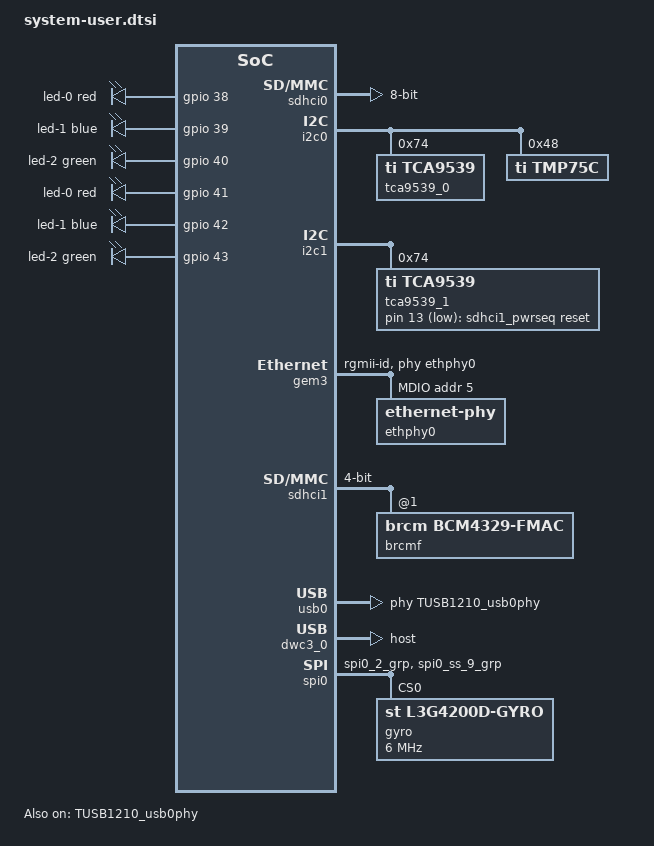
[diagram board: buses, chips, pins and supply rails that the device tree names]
/include/ "system-conf.dtsi"

#include <dt-bindings/gpio/gpio.h>
#include <dt-bindings/leds/common.h>
#include <dt-bindings/pinctrl/pinctrl-zynqmp.h>
#include <dt-bindings/interrupt-controller/irq.h>

/*
/ {
	memory {
		device_type = "memory";
		reg = <0x0 0x0 0x0 0x5ffff000>;
	};
};

&amba
{
	pl_shared_mem: shared-mem@60000000 {
		compatible = "skyfend,shared-mem";
		reg = <0x0 0x60000000 0x0 0x20000000>;

		status = "okay";
	};
};
*/


&amba
{
	axi_uartlite_0: serial@80010000 {
		clock-names = "s_axi_aclk";
		clocks = <&zynqmp_clk 71>;
		compatible = "xlnx,axi-uartlite-2.0", "xlnx,xps-uartlite-1.00.a";
		current-speed = <115200>;
		device_type = "serial";
		interrupt-names = "interrupt";
		interrupt-parent = <&gic>;

		interrupts = <0 96 1>;
		port-number = <1>;
		reg = <0x0 0x80010000 0x0 0x80>;
		xlnx,baudrate = <0x1c200>;
		xlnx,data-bits = <0x8>;
		xlnx,odd-parity = <0x0>;
		xlnx,s-axi-aclk-freq-hz-d = "99.999001";
		xlnx,use-parity = <0x0>;

		status = "disable";
	};
	axi_uartlite_1: serial@80010080 {
		clock-names = "s_axi_aclk";
		clocks = <&zynqmp_clk 71>;
		compatible = "xlnx,axi-uartlite-2.0", "xlnx,xps-uartlite-1.00.a";
		current-speed = <115200>;
		device_type = "serial";
		interrupt-names = "interrupt";
		interrupt-parent = <&gic>;
		interrupts = <0 94 1>;
		port-number = <2>;
		reg = <0x0 0x80010080 0x0 0x80>;
		xlnx,baudrate = <0x1c200>;
		xlnx,data-bits = <0x8>;
		xlnx,odd-parity = <0x0>;
		xlnx,s-axi-aclk-freq-hz-d = "99.999001";
		xlnx,use-parity = <0x0>;

		status = "disable";
	};

	axi_uartlite_2: serial@80010100 {
		clock-names = "s_axi_aclk";
		clocks = <&zynqmp_clk 71>;
		compatible = "xlnx,axi-uartlite-2.0", "xlnx,xps-uartlite-1.00.a";
		current-speed = <115200>;
		device_type = "serial";
		interrupt-names = "interrupt";
		interrupt-parent = <&gic>;
		interrupts = <0 95 1>;
		port-number = <3>;
		reg = <0x0 0x80010100 0x0 0x80>;
		xlnx,baudrate = <0x1C200>;
		xlnx,data-bits = <0x8>;
		xlnx,odd-parity = <0x0>;
		xlnx,s-axi-aclk-freq-hz-d = "99.999001";
		xlnx,use-parity = <0x0>;

		status = "disable";
	};

	axi_uartlite_3: serial@80010180 {
		clock-names = "s_axi_aclk";
		clocks = <&zynqmp_clk 71>;
		compatible = "xlnx,axi-uartlite-2.0", "xlnx,xps-uartlite-1.00.a";
		current-speed = <115200>;
		device_type = "serial";
		interrupt-names = "interrupt";
		interrupt-parent = <&gic>;
		interrupts = <0 89 1>;
		port-number = <4>;
		reg = <0x0 0x80010180 0x0 0x80>;
		xlnx,baudrate = <0x1c200>;
		xlnx,data-bits = <0x8>;
		xlnx,odd-parity = <0x0>;
		xlnx,s-axi-aclk-freq-hz-d = "99.999001";
		xlnx,use-parity = <0x0>;

		status = "disable";
	};
	axi_uartlite_4: serial@80010200 {
		clock-names = "s_axi_aclk";
		clocks = <&zynqmp_clk 71>;
		compatible = "xlnx,axi-uartlite-2.0", "xlnx,xps-uartlite-1.00.a";
		current-speed = <115200>;
		device_type = "serial";
		interrupt-names = "interrupt";
		interrupt-parent = <&gic>;
		interrupts = <0 90 1>;
		port-number = <5>;
		reg = <0x0 0x80010200 0x0 0x80>;
		xlnx,baudrate = <0x1c200>;
		xlnx,data-bits = <0x8>;
		xlnx,odd-parity = <0x0>;
		xlnx,s-axi-aclk-freq-hz-d = "99.999001";
		xlnx,use-parity = <0x0>;

		status = "disable";

		l96: gnss { 
			compatible = "quectel,l96";
			on-gpios = <&tca9539_0 0 GPIO_ACTIVE_HIGH>;
			reset-gpios = <&tca9539_0 1 GPIO_ACTIVE_LOW>;
			timepulse-gpios = <&gpio 88 GPIO_ACTIVE_HIGH>;
			current-speed = <9600>; 

			status = "disable";
		}; 
	};
};

&flash0 {
	compatible = "jedec,spi-nor";
	#address-cells = <0x01>;
	#size-cells = <0x1>;
	reg = <0x0>;

	spi-rx-bus-width = <0x04>;
	spi-tx-bus-width = <0x01>;
	spi-max-frequency = <5000000>;
};

&sdhci0 {
	bus-width = <8>;
	supports-emmc;
	non-removeable;
	
	status = "okay";
};

&i2c0 {
	status = "okay";

	tca9539_0: tca9539@74 {
		compatible = "ti,tca9539";
		reg=<0x74>;
		gpio-controller;
		#gpio-cells = <0x2>;
		
		status = "okay";
	};

	tmp75c: tmp75c@48 {
		compatible = "ti,tmp75c";
		reg=<0x48>;

		staus = "okay";	
	};
};

&i2c1 {
	status = "okay";

	tca9539_1: tca9539@74 {
		compatible = "ti,tca9539";
		reg=<0x74>;
		gpio-controller;
		#gpio-cells = <0x2>;
		
		status = "okay";
	};
};



&gem3 {
	phy-handle = <&ethphy0>;
	phy-mode = "rgmii-id";
	pinctrl-names = "default";

	status = "okay";

	mdio0: mdio@0 {
	  reg = <0>;
      #address-cells = <1>;
      #size-cells = <0>;

      status = "okay";
      
      ethphy0: ethernet-phy@5 {
        reg = <0x5>;
        tx-fifo-depth = <0x01>;
        rx-fifo-depth = <0x01>;
        ti,op-mode = <0x00>;
        ti,max-output-impedance = "true";
        ti,clk-output-sel = <0x0c>;
        rx-internal-delay-ps = <2000>;
        tx-internal-delay-ps = <2000>;
        //enet-phy-lane-swap = "true";

        status = "okay";
      };
    };

};

/{

    sdhci1_pwrseq: sdhci1-pwrseq {
      compatible = "mmc-pwrseq-simple";
      reset-gpios = <&tca9539_1 13 GPIO_ACTIVE_LOW>;
      post-power-on-delay-ms = <100>;
      power-off-delay-us = <100000>;
    };
};

&sdhci1 {
	status = "okay";

	max-frequency = <50000000>;

	#address-cells = <1>;
	#size-cells = <0>;
	no-1-8-v; 
	cap-power-off-card;
	bus-width = <4>;
	
    non-removeable;
    broken-cd;
    mmc-pwrseq = <&sdhci1_pwrseq>;

    sd-uhs-sdr12;
    sd-uhs-sdr25;
    sd-uhs-sdr50;
    sd-uhs-sdr104;
    sd-uhs-ddr50;

	brcmf: brcmf@1 {
		reg = <1>;
		compatible = "brcm,bcm4329-fmac";

		status = "okay";
	};
};

/{
	TUSB1210_usb0phy: ulpi-usb0-phy {
		compatible = "ulpi-phy";
		///reset-gpios = <&tca9539_1 3 GPIO_ACTIVE_LOW>;
		#phy-cells = <0>;
		reg = <0x0 0xfe200000 0x0 0x40000>;
		view-port = <0xC280>;
		///drv-vbus;
	};
};

&usb0 {
	status = "okay";

	//usb-phy;
	phy_type = "ulpi";
	phy-names = "TUSB1210_usb0phy";
	phys = <&TUSB1210_usb0phy>;
};

&dwc3_0 {
	status = "okay";
	dr_mode = "host";
	snps,usb3_lpm_capable;
	maximum-speed = "high-speed";
};

&TUSB1210_usb0phy {
	status = "okay";
};

/{
    rgb_led0: rgb-led0 {
        compatible = "gpio-leds";
        color = <LED_COLOR_ID_RGB>;
        function = LED_FUNCTION_STATUS;
        default-state = "off";
        
        led-0 {
            gpios = <&gpio 38 GPIO_ACTIVE_HIGH>;
            color = <LED_COLOR_ID_RED>;
        };

        led-1 {
            gpios = <&gpio 39 GPIO_ACTIVE_HIGH>;
            color = <LED_COLOR_ID_BLUE>;
        };

        led-2 {
            gpios = <&gpio 40 GPIO_ACTIVE_HIGH>;
            color = <LED_COLOR_ID_GREEN>;
        };
    };

    rgb_led1: rgb-led1 {
    compatible = "gpio-leds";
    color = <LED_COLOR_ID_RGB>;
    function = LED_FUNCTION_STATUS;
    default-state = "off";

	    led-0 {
	        gpios = <&gpio 41 GPIO_ACTIVE_HIGH>;
	        color = <LED_COLOR_ID_RED>;
	    };

	    led-1 {
	        gpios = <&gpio 42 GPIO_ACTIVE_HIGH>;
	        color = <LED_COLOR_ID_BLUE>;
	    };

	    led-2 {
	        gpios = <&gpio 43 GPIO_ACTIVE_HIGH>;
	        color = <LED_COLOR_ID_GREEN>;
    };
};
};

&rgb_led0 {
	status = "okay";
};

&rgb_led1 {
	status = "okay";
};

/{
	rdmap_irq_event {
		compatible = "skyfend,pl-event";
		interrupt-names = "interrupt";
		interrupt-parent = <&gic>;
		interrupts = <0 109 1>;

		status = "okay";
	};

	cpib_event {
		compatible = "skyfend,pl-event";
		interrupt-names = "interrupt";
		interrupt-parent = <&gic>;
		interrupts = <0 110 1>;
		
		status = "okay";
	};

	adc_irq_event {
		compatible = "skyfend,pl-event";
		interrupt-names = "interrupt";
		interrupt-parent = <&gic>;
		interrupts = <0 111 1>;
		
		status = "okay";
	};
};

&pinctrl0 {
	status = "okay";

	pinctrl_spi0_default: spi0-default {
		mux {
			groups = "spi0_2_grp";
			function = "spi0";
		};

		conf {
			groups = "spi0_2_grp";
			bias-disable;
			slew-rate = <SLEW_RATE_SLOW>;
			power-source = <IO_STANDARD_LVCMOS18>;
		};

		mux-cs {
			groups = "spi0_ss_9_grp";
			function = "spi0_ss";
		};

		conf-cs {
			groups = "spi0_ss_9_grp";
			bias-disable;
		};

	};
};

&spi0 {
	//cs-gpios = <&gpio 29 GPIO_ACTIVE_LOW>;
	num-cs = <1>;

	pinctrl-names = "default";
	pinctrl-0 = <&pinctrl_spi0_default>;
	status = "okay";

	gyro: I3G4250D@0 {
		compatible = "st,l3g4200d-gyro";
		st,drdy-int-pin = <2>;
		reg = <0>;

		spi-max-frequency = <6000000>;
		spi-cpha;
		spi-cpol;

		status = "okay";
	};
};

/{
	axi_iic_3: i2c@80040000 {
		#address-cells = <1>;
		#size-cells = <0>;
		clock-names = "s_axi_aclk";
		clocks = <&zynqmp_clk 71>;
		compatible = "xlnx,axi-iic-2.1", "xlnx,xps-iic-2.00.a";
		interrupt-names = "iic2intc_irpt";
		interrupt-parent = <&gic>;
		interrupts = <0 104 4>;
		reg = <0x0 0x80040000 0x0 0x10000>;

		status = "disable";

		imu_accel: lsm303ah-accel@1D {
			compatible = "st,lsm303ah_accel";
			reg = <0x1D>;

			st,drdy-int-pin = <1>;
			interrupt-parent = <&gpio>;
        	interrupts = <86 IRQ_TYPE_EDGE_RISING>, <87 IRQ_TYPE_EDGE_RISING>;

			status = "disable";
		};

		imu_magn: lsm303ah-magn@1E {
			compatible = "st,lsm303agr-magn";
			reg = <0x1E>;

			st,drdy-int-pin = <1>;
			interrupt-parent = <&gpio>;
        	interrupts = <96 IRQ_TYPE_EDGE_RISING>;

			status = "disable";
		};
	};
	
	axi_iic_0: i2c@80010280 {
				#address-cells = <1>;
				#size-cells = <0>;
				clock-names = "s_axi_aclk";
				clocks = <&zynqmp_clk 71>;
				compatible = "xlnx,axi-iic-2.1", "xlnx,xps-iic-2.00.a";
				interrupt-names = "iic2intc_irpt";
				interrupt-parent = <&gic>;
				interrupts = <0 106 4>;
				reg = <0x0 0x80010280 0x0 0x80>;

		status = "disable";
	};
	axi_iic_1: i2c@80000000 {
				#address-cells = <1>;
				#size-cells = <0>;
				clock-names = "s_axi_aclk";
				clocks = <&zynqmp_clk 71>;
				compatible = "xlnx,axi-iic-2.1", "xlnx,xps-iic-2.00.a";
				interrupt-names = "iic2intc_irpt";
				interrupt-parent = <&gic>;
				interrupts = <0 107 4>;
				reg = <0x0 0x80000000 0x0 0x10000>;

		status = "disable";
	};
	axi_iic_2: i2c@80030000 {
				#address-cells = <1>;
				#size-cells = <0>;
				clock-names = "s_axi_aclk";
				clocks = <&zynqmp_clk 71>;
				compatible = "xlnx,axi-iic-2.1", "xlnx,xps-iic-2.00.a";
				clock-frequency = <100000>;
				interrupt-names = "iic2intc_irpt";
				interrupt-parent = <&gic>;
				interrupts = <0 105 4>;
				reg = <0x0 0x80030000 0x0 0x10000>;

		status = "disable";
	};
};

